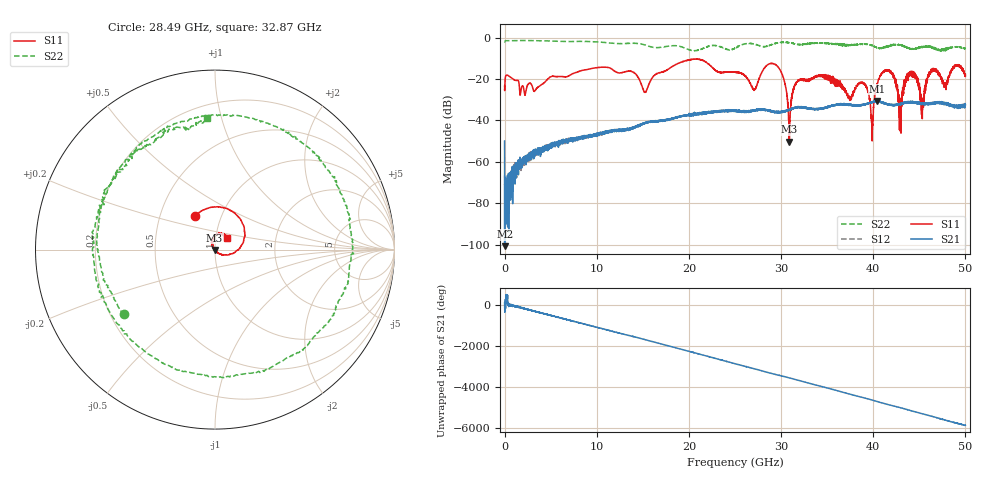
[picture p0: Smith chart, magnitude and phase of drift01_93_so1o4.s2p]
!Created with skrf (http://scikit-rf.org).
# Hz S RI R 50.0
!freq ReS11 ImS11 ReS21 ImS21 ReS12 ImS12 ReS22 ImS22
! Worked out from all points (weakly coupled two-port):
!   10001 points, 300 kHz to 50 GHz, reference 50 ohm
!   highest |S21| = -30.60 dB at 40.45 GHz (marker M1); lowest = -100.8 dB at 5.3 MHz (marker M2)
!   lowest |S11| = -50.2 dB at 30.9 GHz (marker M3), VSWR 1.01, Z = 49.7 - j0.177 ohm
!   |S11| at or under -10 dB: start of sweep to end of sweep
!   |S22| runs from -6.5 to -1.4 dB; largest |S21 - S12| = 0.0038
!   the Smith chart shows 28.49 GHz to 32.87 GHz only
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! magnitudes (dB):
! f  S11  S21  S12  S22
! 300 kHz  -23.4  -50.0  -66.4  -2.1
! 5.3 MHz  -25.6  -100.8  -73.0  -2.1
! 255.3 MHz  -18.1  -86.1  -70.7  -1.4
! 2.29 GHz  -26.2  -57.8  -58.6  -1.4
! 8.335 GHz  -16.0  -48.0  -48.3  -1.8
! 15.24 GHz  -26.4  -41.0  -41.1  -3.6
! 16.67 GHz  -17.1  -40.4  -40.4  -4.8
! 25 GHz  -16.7  -35.3  -35.4  -5.1
! 27.1 GHz  -25.2  -35.0  -35.0  -3.2
! 29.43 GHz  -13.1  -35.7  -36.0  -2.8
! 30.9 GHz  -50.2  -35.1  -34.6  -2.5
! 31.66 GHz  -21.6  -33.7  -33.9  -3.2
! 33.34 GHz  -19.7  -34.4  -34.1  -2.6
! 38.91 GHz  -22.0  -32.5  -32.5  -3.0
! 39.86 GHz  -43.4  -31.3  -31.4  -3.7
! 40.45 GHz  -22.1  -30.6  -30.8  -4.8
! 41.67 GHz  -15.9  -32.6  -32.3  -4.3
! 42.93 GHz  -34.6  -32.1  -32.1  -3.6
! 44.03 GHz  -17.6  -31.0  -31.3  -5.5
! 45.31 GHz  -38.7  -32.1  -32.1  -4.4
! 46.42 GHz  -15.1  -31.7  -31.7  -4.6
! 50 GHz  -17.8  -32.4  -33.1  -5.4
